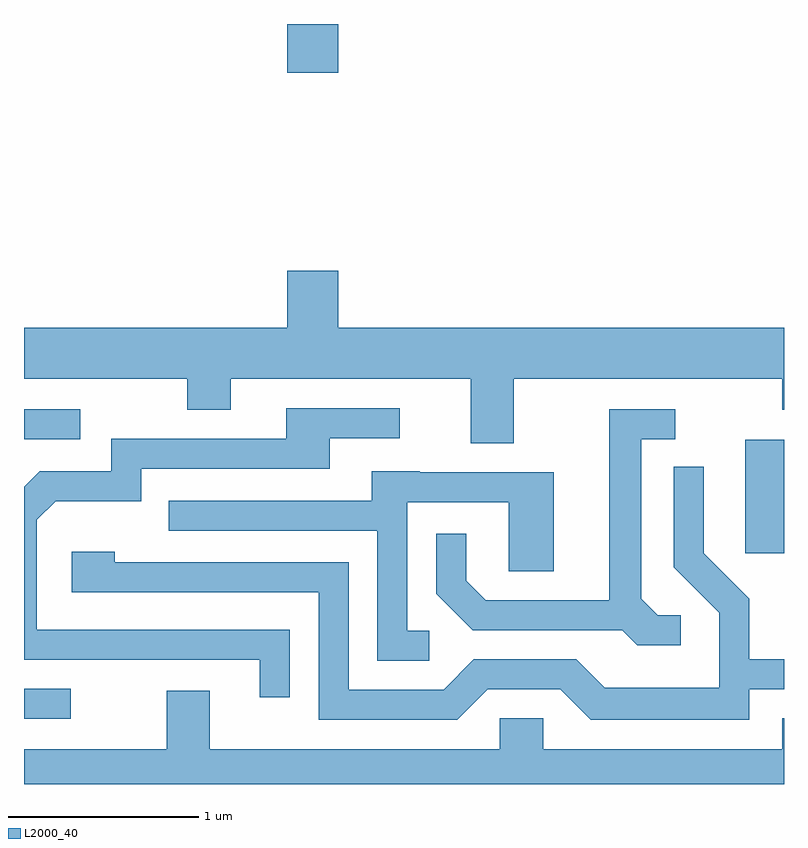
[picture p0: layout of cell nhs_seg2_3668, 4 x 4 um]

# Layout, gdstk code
import gdstk
lib = gdstk.Library(unit=1e-6, precision=1e-09)
def R(c, l, rs):  # rectangles x0, y0, x1, y1
    for r in rs: c.add(gdstk.rectangle(r[:2], r[2:], *l))
def P(c, l, *ps):  # polygons
    for p in ps: c.add(gdstk.Polygon(p, *l))
L2000_40 = (2000, 40)

nhs_seg2_3668 = lib.new_cell('nhs_seg2_3668')
R(nhs_seg2_3668, L2000_40, [(293.611,982.146,293.858,982.304), (297.406,983.016,297.611,983.614), (293.611,983.616,293.908,983.774), (294.996,985.546,295.264,985.802)])
P(nhs_seg2_3668, L2000_40, [(296.189,983.936),(297.601,983.936),(297.601,983.771),(297.611,983.771),(297.611,984.204),(295.264,984.204),(295.264,984.504),(294.996,984.504),(294.996,984.204),(293.611,984.204),(293.611,983.936),(294.471,983.936),(294.471,983.771),(294.699,983.771),(294.699,983.936),(295.961,983.936),(295.961,983.596),(296.189,983.596)],
  [(295.009,982.614),(293.679,982.614),(293.679,983.194),(293.777,983.291),(294.229,983.291),(294.229,983.461),(295.219,983.461),(295.219,983.621),(295.588,983.621),(295.588,983.779),(294.991,983.779),(294.991,983.619),(294.071,983.619),(294.071,983.449),(293.694,983.449),(293.611,983.366),(293.611,982.456),(294.851,982.456),(294.851,982.258),(295.009,982.258)],
  [(297.068,982.689),(296.947,982.689),(296.859,982.777),(296.859,983.616),(297.038,983.616),(297.038,983.774),(296.691,983.774),(296.691,982.769),(296.042,982.769),(295.939,982.872),(295.939,983.118),(295.781,983.118),(295.781,982.804),(295.974,982.611),(296.759,982.611),(296.839,982.531),(297.068,982.531)],
  [(296.052,982.301),(296.434,982.301),(296.594,982.141),(297.429,982.141),(297.429,982.301),(297.611,982.301),(297.611,982.459),(297.429,982.459),(297.429,982.777),(297.189,983.017),(297.189,983.473),(297.031,983.473),(297.031,982.944),(297.271,982.704),(297.271,982.309),(296.667,982.309),(296.517,982.459),(295.979,982.459),(295.819,982.299),(295.319,982.299),(295.319,982.969),(294.089,982.969),(294.089,983.024),(293.861,983.024),(293.861,982.811),(295.161,982.811),(295.161,982.141),(295.892,982.141)],
  [(295.743,982.609),(295.629,982.609),(295.629,983.286),(296.161,983.286),(296.161,982.921),(296.399,982.921),(296.399,983.444),(295.695,983.444),(295.695,983.449),(295.441,983.449),(295.441,983.294),(294.373,983.294),(294.373,983.136),(295.471,983.136),(295.471,982.451),(295.743,982.451)],
  [(297.611,982.149),(297.601,982.149),(297.601,981.984),(296.344,981.984),(296.344,982.149),(296.116,982.149),(296.116,981.984),(294.589,981.984),(294.589,982.294),(294.361,982.294),(294.361,981.984),(293.611,981.984),(293.611,981.802),(297.611,981.802)])

lib.write_gds('nhs_seg2_3668.gds')
